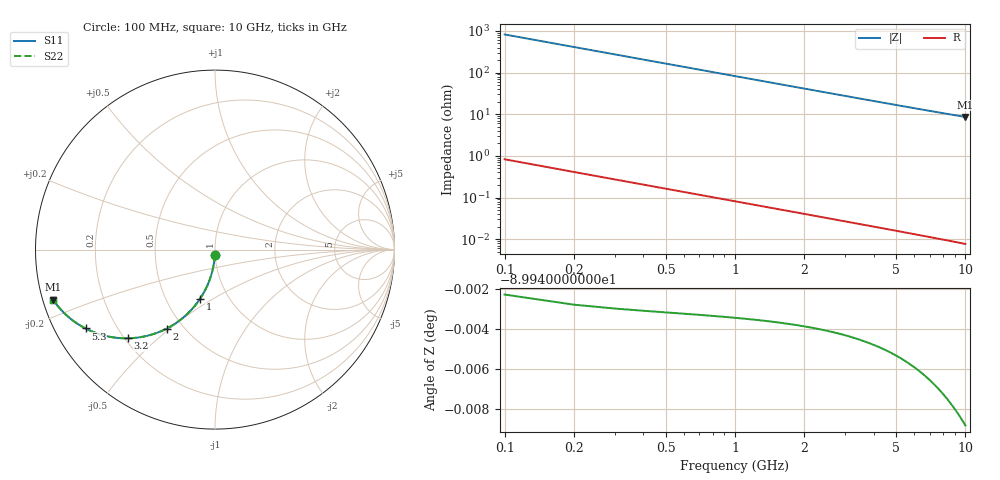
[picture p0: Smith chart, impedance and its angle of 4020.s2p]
# Hz S RI R 50.00
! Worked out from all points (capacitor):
!   100 points, 100 MHz to 10 GHz, reference 50 ohm
!   read as one part in shunt: C = 1.93 pF near 100 MHz
!   lowest |Z| = 8.61 ohm at 10 GHz (marker M1)
!   S11 on the Smith chart (normalised r, x): 100 MHz: 1.00, -0.06; 1 GHz: 0.73, -0.44; 2 GHz: 0.41, -0.49; 3.2 GHz: 0.21, -0.40; 5.3 GHz: 0.09, -0.28; 10 GHz: 0.03, -0.15
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1e8  -0.000925 -0.0302  0.999 -0.0305  0.999 -0.0305  -0.000925 -0.0302
2e8  -0.00371 -0.0602  0.9962 -0.0609  0.9962 -0.0609  -0.00371 -0.0602
3e8  -0.0083 -0.0899  0.9916 -0.0909  0.9916 -0.0909  -0.0083 -0.0899
4e8  -0.0146 -0.1191  0.9853 -0.1204  0.9853 -0.1204  -0.0146 -0.1191
5e8  -0.0227 -0.1477  0.9773 -0.1492  0.9773 -0.1492  -0.0227 -0.1477
6e8  -0.0323 -0.1754  0.9676 -0.1773  0.9676 -0.1773  -0.0323 -0.1754
7e8  -0.0434 -0.2023  0.9565 -0.2045  0.9565 -0.2045  -0.0434 -0.2023
8e8  -0.0559 -0.2281  0.944 -0.2306  0.944 -0.2306  -0.0559 -0.2281
1e9  -0.0847 -0.2764  0.9153 -0.2795  0.9153 -0.2795  -0.0847 -0.2764
1.2e9  -0.1175 -0.3196  0.8825 -0.3234  0.8825 -0.3234  -0.1175 -0.3196
1.4e9  -0.1533 -0.3576  0.8467 -0.362  0.8467 -0.362  -0.1533 -0.3576
1.8e9  -0.2301 -0.4176  0.7698 -0.4233  0.7698 -0.4233  -0.2301 -0.4176
2e9  -0.2694 -0.44  0.7305 -0.4464  0.7305 -0.4464  -0.2694 -0.44
2.6e9  -0.3837 -0.4817  0.6162 -0.4899  0.6162 -0.4899  -0.3837 -0.4817
3.2e9  -0.4851 -0.4942  0.5148 -0.5044  0.5148 -0.5044  -0.4851 -0.4942
3.4e9  -0.5153 -0.4938  0.4846 -0.5047  0.4846 -0.5047  -0.5153 -0.4938
4.2e9  -0.6185 -0.4785  0.3814 -0.492  0.3814 -0.492  -0.6185 -0.4785
5.1e9  -0.705 -0.4473  0.2948 -0.4638  0.2948 -0.4638  -0.705 -0.4473
5.3e9  -0.7207 -0.4395  0.2791 -0.4567  0.2791 -0.4567  -0.7207 -0.4395
6.7e9  -0.805 -0.3846  0.1947 -0.4065  0.1947 -0.4065  -0.805 -0.3846
8.4e9  -0.8668 -0.3251  0.1327 -0.3529  0.1327 -0.3529  -0.8668 -0.3251
1e10  -0.9026 -0.2789  0.0968 -0.3123  0.0968 -0.3123  -0.9026 -0.2789
